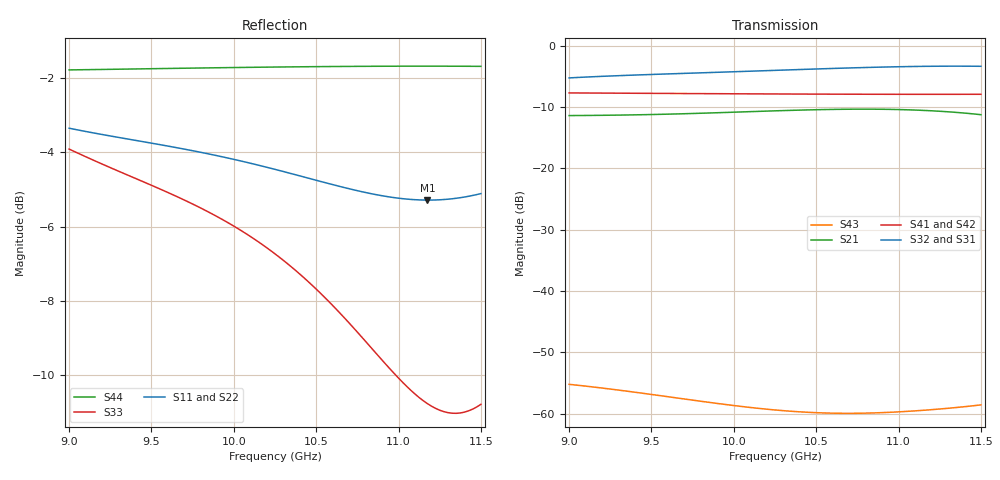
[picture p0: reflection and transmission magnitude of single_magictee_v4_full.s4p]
! Generated from PyAEDT SolutionData; AEDT ExportNetworkData workaround
# GHz S MA R 50
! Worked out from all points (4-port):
!   101 points, 9 GHz to 11.5 GHz, reference 50 ohm
!   strongest paths, dB at 9 GHz, 9.625 GHz, 10.25 GHz, 10.88 GHz, 11.5 GHz:
!     S32: -5.3, -4.6, -4.0, -3.5, -3.4
!     S31: -5.3, -4.6, -4.1, -3.6, -3.4
!     S41: -7.7, -7.8, -7.9, -7.9, -7.9
!     S42: -7.8, -7.9, -7.9, -8.0, -8.0
!     S21: -11.4, -11.1, -10.6, -10.4, -11.2
!     S43: -55.2, -57.3, -59.4, -59.8, -58.5
!   lowest |S11| = -5.3 dB at 11.18 GHz (marker M1), VSWR 3.39, Z = 15.4 + j10.2 ohm
!   |S11| at or under -10 dB: nowhere
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9  0.6802 29.1  0.2694 -81.8  0.5431 -2.1  0.4121 31.5
   0.2694 -81.8  0.6802 28.4  0.5463 -2.2  0.4078 -148.4
   0.5431 -2.1  0.5463 -2.2  0.6376 170.3  0.001737 65.1
   0.4121 31.5  0.4078 -148.4  0.001737 65.1  0.8148 -163.7
9.4  0.6552 -18.4  0.2732 -136.1  0.5731 -72.8  0.4095 -11.2
     0.2732 -136.1  0.6547 -19.1  0.5764 -72.9  0.4056 168.8
     0.5731 -72.8  0.5764 -72.9  0.5826 77.7  0.001498 -1.9
     0.4095 -11.2  0.4056 168.8  0.001498 -1.9  0.8172 159.1
9.725  0.6359 -55.8  0.2796 -178.3  0.5929 -128.0  0.4073 -44.8
       0.2796 -178.3  0.635 -56.5  0.5963 -128.2  0.4038 135.2
       0.5929 -128.0  0.5963 -128.2  0.5411 5.8  0.001306 -52.2
       0.4073 -44.8  0.4038 135.2  0.001306 -52.2  0.8192 129.8
10.05  0.614 -92.0  0.2886 140.2  0.6128 178.1  0.4053 -77.5
       0.2886 140.2  0.6124 -92.8  0.6164 177.9  0.4021 102.4
       0.6128 178.1  0.6164 177.9  0.4945 -64.0  0.001146 -98.5
       0.4053 -77.5  0.4021 102.4  0.001146 -98.5  0.821 101.1
10.625  0.5693 -152.6  0.3028 66.8  0.6497 84.2  0.4026 -133.9
        0.3028 66.8  0.5665 -153.5  0.6539 83.9  0.3999 46.0
        0.6497 84.2  0.6539 83.9  0.3876 171.2  0.00101 -172.3
        0.4026 -133.9  0.3999 46.0  0.00101 -172.3  0.8234 51.5
11.175  0.5444 154.6  0.2959 -4.0  0.6744 -5.9  0.4015 173.5
        0.2959 -4.0  0.5403 153.5  0.679 -6.3  0.3993 -6.8
        0.6744 -5.9  0.679 -6.3  0.2899 36.1  0.001074 119.1
        0.4015 173.5  0.3993 -6.8  0.001074 119.1  0.8243 5.0
11.5  0.5555 124.5  0.274 -45.0  0.6745 -59.8  0.4018 142.9
      0.274 -45.0  0.551 123.2  0.6793 -60.3  0.3999 -37.5
      0.6745 -59.8  0.6793 -60.3  0.2892 -53.4  0.001182 77.7
      0.4018 142.9  0.3999 -37.5  0.001182 77.7  0.8238 -22.2
